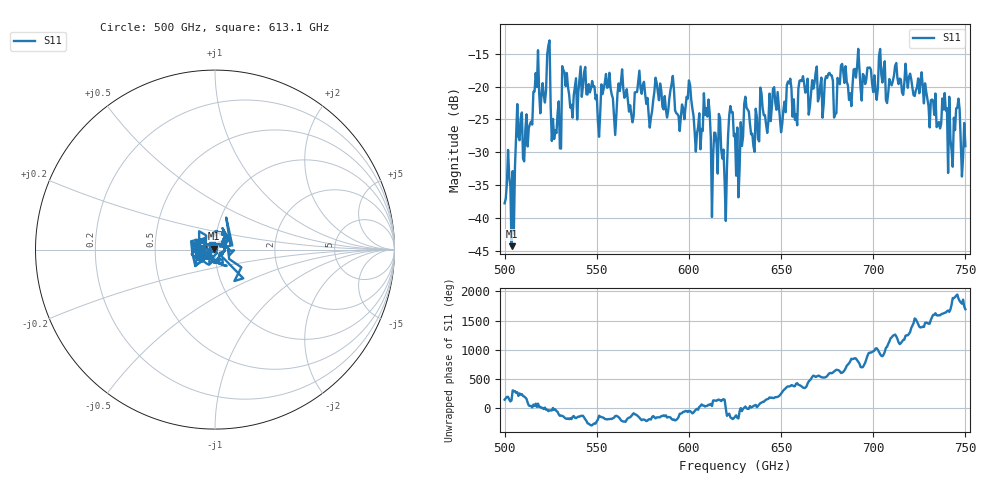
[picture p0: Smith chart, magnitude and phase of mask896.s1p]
!Created with skrf (http://scikit-rf.org).
# GHz S MA R 50.0
!freq magS11 angS11
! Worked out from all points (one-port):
!   401 points, 500 GHz to 750 GHz, reference 50 ohm
!   lowest |S11| = -44.3 dB at 503.8 GHz (marker M1), VSWR 1.01, Z = 49.6 + j0.485 ohm
!   |S11| at or under -10 dB: start of sweep to end of sweep
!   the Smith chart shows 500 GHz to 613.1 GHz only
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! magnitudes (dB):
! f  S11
! 500 GHz  -37.8
! 503.8 GHz  -44.3
! 507.5 GHz  -27.6
! 511.2 GHz  -26.6
! 516.9 GHz  -17.9
! 520.6 GHz  -19.5
! 523.8 GHz  -13.7
! 526.9 GHz  -28.0
! 531.2 GHz  -16.9
! 532.5 GHz  -17.9
! 550.6 GHz  -25.3
! 562.5 GHz  -20.7
! 568.8 GHz  -24.3
! 590.6 GHz  -19.6
! 593.8 GHz  -24.2
! 600 GHz  -19.1
! 605 GHz  -26.2
! 609.4 GHz  -23.3
! 619.4 GHz  -34.5
! 622.5 GHz  -23.0
! 625 GHz  -27.2
! 626.2 GHz  -26.2
! 631.2 GHz  -23.2
! 656.2 GHz  -24.6
! 687.5 GHz  -21.0
! 690.6 GHz  -18.6
! 718.8 GHz  -20.2
! 750 GHz  -29.1
